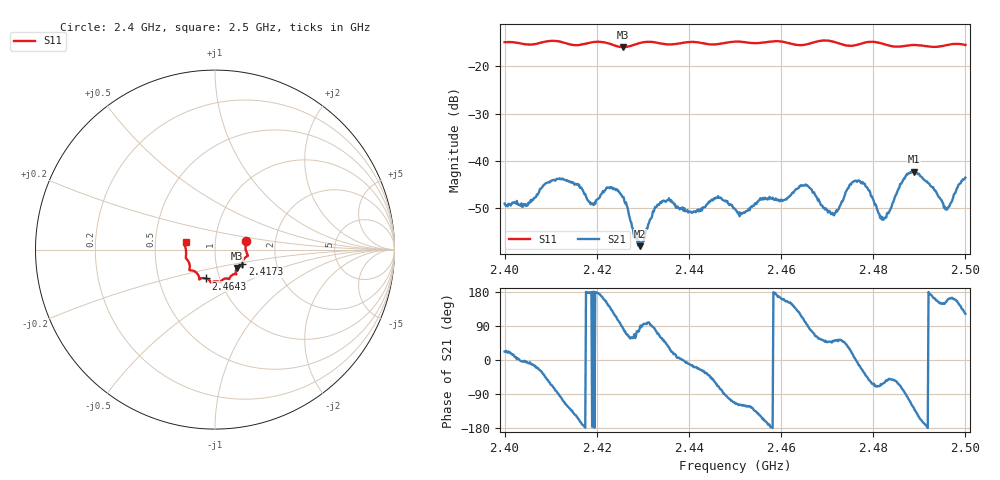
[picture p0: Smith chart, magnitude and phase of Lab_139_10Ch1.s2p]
# Hz S RI R 50
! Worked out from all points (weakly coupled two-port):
!   601 points, 2.4 GHz to 2.5 GHz, reference 50 ohm
!   highest |S21| = -42.25 dB at 2.4888 GHz (marker M1); lowest = -58.1 dB at 2.4293 GHz (marker M2)
!   lowest |S11| = -15.9 dB at 2.4257 GHz (marker M3), VSWR 1.38, Z = 62.4 - j13.1 ohm
!   |S11| at or under -10 dB: start of sweep to end of sweep
!   S12 and S22 are empty: the file has one direction only
!   S11 on the Smith chart (normalised r, x): 2.4 GHz: 1.41, +0.15; 2.4173 GHz: 1.34, -0.23; 2.4643 GHz: 0.86, -0.28; 2.5 GHz: 0.72, +0.06
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2.4e9  0.1734 0.0499  0.00327 0.00133  0 0  0 0
2.404833e9  0.1702 0.0154  0.00341 -0.00031  0 0  0 0
2.411667e9  0.1812 -0.0357  0.000125 -0.00646  0 0  0 0
2.416667e9  0.1528 -0.0747  -0.00505 -0.00117  0 0  0 0
2.417333e9  0.1522 -0.0819  -0.00442 -0.00034  0 0  0 0
2.419167e9  0.1537 -0.0954  -0.00351 1.25e-05  0 0  0 0
2.422667e9  0.1476 -0.0935  -0.00414 0.00315  0 0  0 0
2.425667e9  0.1226 -0.1026  0.000418 0.00412  0 0  0 0
2.429333e9  0.1167 -0.1332  0.000107 0.00125  0 0  0 0
2.433333e9  0.1127 -0.1367  0.00118 0.00322  0 0  0 0
2.441e9  0.0781 -0.1643  0.00275 -0.000935  0 0  0 0
2.446333e9  0.0451 -0.1665  0.00152 -0.00395  0 0  0 0
2.45e9  0.0297 -0.1808  -0.00125 -0.00284  0 0  0 0
2.464333e9  -0.0502 -0.1605  -0.00245 0.00497  0 0  0 0
2.466667e9  -0.0762 -0.1601  0.00121 0.00479  0 0  0 0
2.471333e9  -0.0873 -0.161  0.00175 0.00203  0 0  0 0
2.476667e9  -0.1234 -0.1173  0.0061 -0.000873  0 0  0 0
2.481833e9  -0.1412 -0.1037  0.00103 -0.00216  0 0  0 0
2.483333e9  -0.1408 -0.0895  0.00179 -0.00214  0 0  0 0
2.488833e9  -0.1622 -0.047  -0.00464 -0.00616  0 0  0 0
2.495833e9  -0.1669 0.0181  -0.00282 0.00143  0 0  0 0
2.5e9  -0.1635 0.042  -0.00352 0.00564  0 0  0 0
